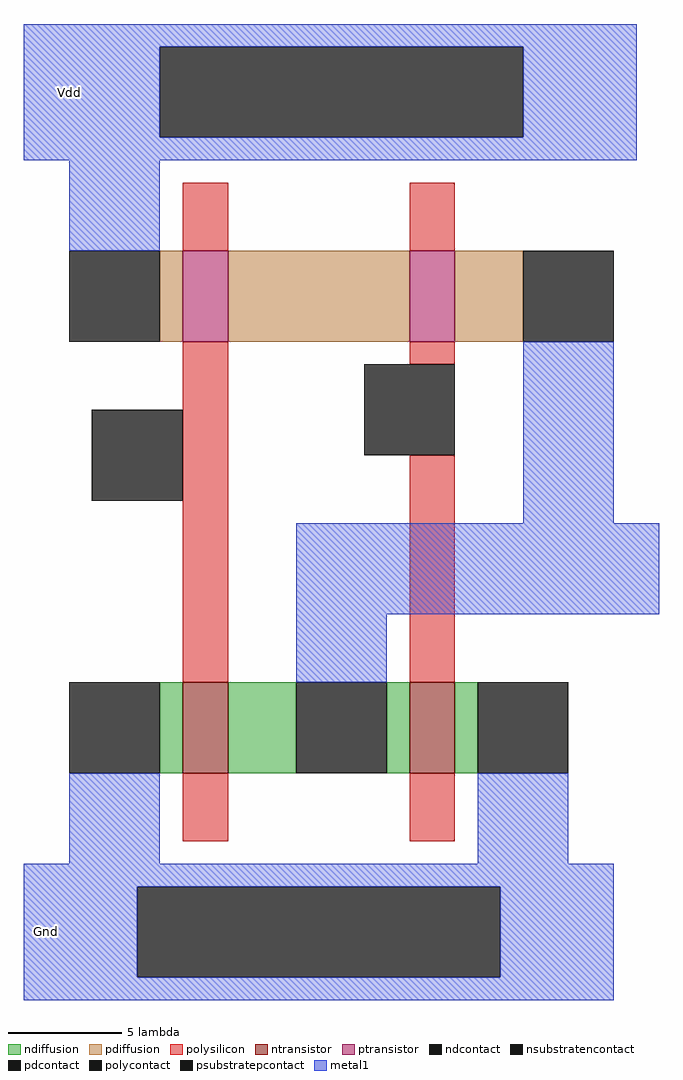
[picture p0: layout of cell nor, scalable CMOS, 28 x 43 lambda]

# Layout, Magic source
magic
tech scmos
<< ntransistor >>
rect -5 -23 -3 -19
rect 5 -23 7 -19
<< ptransistor >>
rect -5 -4 -3 0
rect 5 -4 7 0
<< ndiffusion >>
rect -6 -23 -5 -19
rect -3 -23 0 -19
rect 4 -23 5 -19
rect 7 -23 8 -19
<< pdiffusion >>
rect -6 -4 -5 0
rect -3 -4 5 0
rect 7 -4 10 0
<< ndcontact >>
rect -10 -23 -6 -19
rect 0 -23 4 -19
rect 8 -23 12 -19
<< pdcontact >>
rect -10 -4 -6 0
rect 10 -4 14 0
<< psubstratepcontact >>
rect -7 -32 9 -28
<< nsubstratencontact >>
rect -6 5 10 9
<< polysilicon >>
rect -5 0 -3 3
rect 5 0 7 3
rect -5 -19 -3 -4
rect 5 -5 7 -4
rect 5 -19 7 -9
rect -5 -26 -3 -23
rect 5 -26 7 -23
<< polycontact >>
rect -9 -11 -5 -7
rect 3 -9 7 -5
<< metal1 >>
rect -12 9 15 10
rect -12 5 -6 9
rect 10 5 15 9
rect -12 4 15 5
rect -10 0 -6 4
rect 10 -12 14 -4
rect 0 -16 16 -12
rect 0 -19 4 -16
rect -10 -27 -6 -23
rect 8 -27 12 -23
rect -12 -28 14 -27
rect -12 -32 -7 -28
rect 9 -32 14 -28
rect -12 -33 14 -32
<< labels >>
rlabel metal1 -10 7 -10 7 4 Vdd
rlabel metal1 -11 -30 -11 -30 2 Gnd
<< end >>
